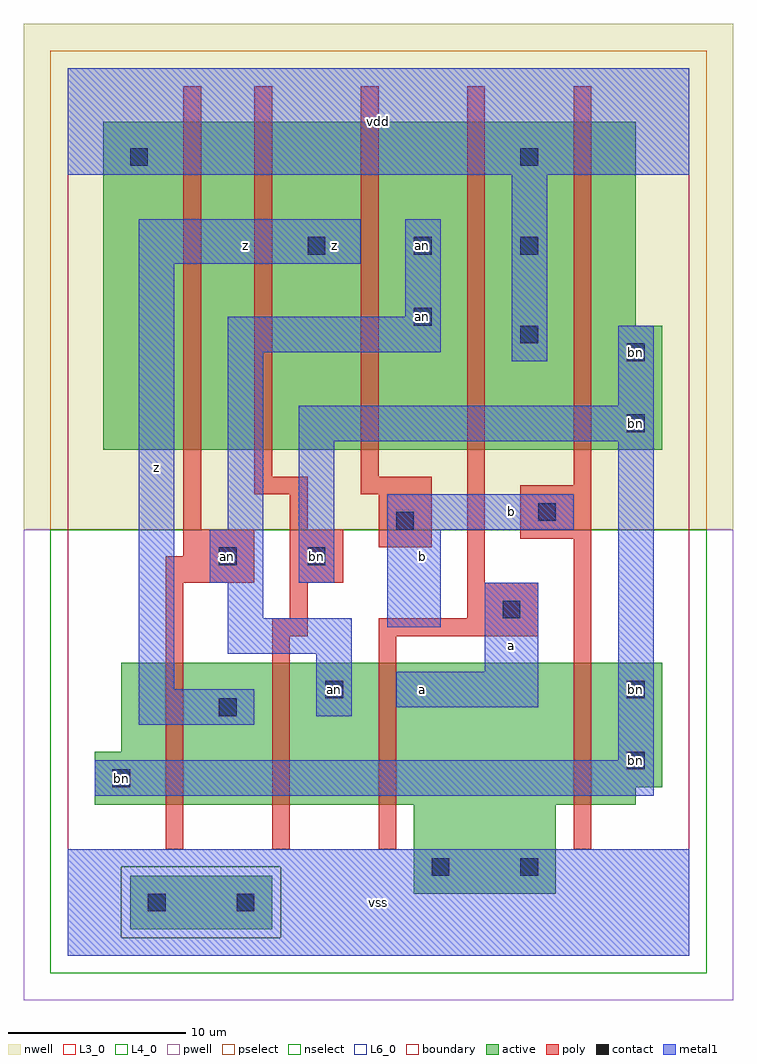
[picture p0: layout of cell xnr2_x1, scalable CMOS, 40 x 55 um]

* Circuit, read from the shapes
.subckt xnr2_x1 a an b bn vdd vss z
M1 z an bn vss nfet w=8u l=1u
M2 an bn z vss nfet w=8u l=1u
M3 vss a an vss nfet w=8u l=1u
M4 bn b vss vss nfet w=8u l=1u
M5 n1 an vdd n2 pfet w=18.5u l=1u
M6 z bn n1 n2 pfet w=18.5u l=1u
M7 an b z n2 pfet w=18.5u l=1u
M8 vdd a an n2 pfet w=18.5u l=1u
M9 bn b vdd n2 pfet w=18.5u l=1u
.ends

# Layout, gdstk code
import gdstk
lib = gdstk.Library(unit=1e-6, precision=1e-09)
def R(c, l, rs):  # rectangles x0, y0, x1, y1
    for r in rs: c.add(gdstk.rectangle(r[:2], r[2:], *l))
def A(c, l, x, y, w, h, nx, ny, dx, dy):  # array of equal rectangles
    R(c, l, [(x+i*dx, y+j*dy, x+i*dx+w, y+j*dy+h) for i in range(nx) for j in range(ny)])
L3_0 = (3, 0)
L4_0 = (4, 0)
L6_0 = (6, 0)
contact = (25, 0)
pwell = (41, 0)
nwell = (42, 0)
active = (43, 0)
pselect = (44, 0)
nselect = (45, 0)
poly = (46, 0)
metal1 = (49, 0)
boundary = (63, 0)

xnr2_x1 = lib.new_cell('xnr2_x1')
R(xnr2_x1, L3_0, [(19.5,3.5,27.5,8.5), (1.5,8.5,32,9.5), (1.5,9.5,33.5,11.5), (3,11.5,33.5,16.5)])
R(xnr2_x1, L4_0, [(2,28.5,33.5,35.5), (2,35.5,32,47)])
R(xnr2_x1, L6_0, [(3.5,1.5,11.5,4.5)])
A(xnr2_x1, contact, 13.5, 39.5, 1, 1, 3, 1, 6, 0)
R(xnr2_x1, contact, [(4.5,2.5,5.5,3.5), (9.5,2.5,10.5,3.5), (20.5,4.5,21.5,5.5), (25.5,4.5,26.5,5.5), (2.5,9.5,3.5,10.5), (31.5,10.5,32.5,11.5), (8.5,13.5,9.5,14.5), (14.5,14.5,15.5,15.5), (31.5,14.5,32.5,15.5), (24.5,19,25.5,20), (8.5,22,9.5,23), (13.5,22,14.5,23), (18.5,24,19.5,25), (26.5,24.5,27.5,25.5), (31.5,29.5,32.5,30.5), (31.5,33.5,32.5,34.5), (25.5,34.5,26.5,35.5), (19.5,35.5,20.5,36.5), (3.5,44.5,4.5,45.5), (25.5,44.5,26.5,45.5)])
R(xnr2_x1, pwell, [(-2.5,-2.5,37.5,24)])
R(xnr2_x1, nwell, [(-2.5,24,37.5,52.5)])
R(xnr2_x1, active, [(3.5,1.5,11.5,4.5), (19.5,3.5,27.5,8.5), (1.5,8.5,32,9.5), (1.5,9.5,33.5,11.5), (3,11.5,33.5,16.5), (2,28.5,33.5,35.5), (2,35.5,32,47)])
R(xnr2_x1, pselect, [(3,1,12,5), (-1,24,36,51)])
R(xnr2_x1, nselect, [(-1,-1,36,1), (-1,1,3,5), (12,1,36,5), (-1,5,36,24)])
R(xnr2_x1, poly, [(5.5,6,6.5,21), (11.5,6,12.5,18), (17.5,6,18.5,18), (28.5,6,29.5,23.5), (11.5,18,13.5,19), (17.5,18,26.5,19), (12.5,19,13.5,21), (22.5,19,26.5,21), (5.5,21,10.5,22.5), (12.5,21,15.5,24), (22.5,21,23.5,49), (6.5,22.5,10.5,24), (17.5,23,20.5,26), (25.5,23.5,29.5,26.5), (6.5,24,7.5,49), (12.5,24,13.5,26), (10.5,26,13.5,27), (16.5,26,20.5,27), (28.5,26.5,29.5,49), (10.5,27,11.5,49), (16.5,27,17.5,49)])
R(xnr2_x1, metal1, [(0,0,35,6), (0,0,35,6), (1.5,9,33,11), (1.5,9,33,11), (31,11,33,29), (31,11,33,29), (4,13,10.5,15), (4,13,10.5,15), (14,13.5,16,17), (14,13.5,16,17), (18.5,14,26.5,16), (18.5,14,26.5,16), (4,15,6,39), (4,15,6,39), (23.5,16,26.5,21), (23.5,16,26.5,21), (9,17,16,19), (9,17,16,19), (18,18.5,21,24), (18,18.5,21,24), (9,19,11,21), (9,19,11,21), (8,21,11,24), (8,21,11,24), (13,21,15,29), (13,21,15,29), (9,24,11,34), (9,24,11,34), (18,24,28.5,26), (18,24,28.5,26), (13,29,33,31), (13,29,33,31), (31,31,33,35.5), (31,31,33,35.5), (25,33.5,27,44), (25,33.5,27,44), (9,34,21,36), (9,34,21,36), (19,36,21,41.5), (19,36,21,41.5), (4,39,16.5,41.5), (4,39,16.5,41.5), (0,44,35,50), (0,44,35,50)])
R(xnr2_x1, boundary, [(0,0,35,50)])
xnr2_x1.add(gdstk.Label('bn', (3,10), layer=49, texttype=0))
xnr2_x1.add(gdstk.Label('an', (9,22.5), layer=49, texttype=0))
xnr2_x1.add(gdstk.Label('bn', (14,22.5), layer=49, texttype=0))
xnr2_x1.add(gdstk.Label('an', (15,15), layer=49, texttype=0))
xnr2_x1.add(gdstk.Label('an', (20,36), layer=49, texttype=0))
xnr2_x1.add(gdstk.Label('an', (20,40), layer=49, texttype=0))
xnr2_x1.add(gdstk.Label('bn', (32,11), layer=49, texttype=0))
xnr2_x1.add(gdstk.Label('bn', (32,15), layer=49, texttype=0))
xnr2_x1.add(gdstk.Label('bn', (32,34), layer=49, texttype=0))
xnr2_x1.add(gdstk.Label('bn', (32,30), layer=49, texttype=0))
xnr2_x1.add(gdstk.Label('z', (5,27.5), layer=49, texttype=0))
xnr2_x1.add(gdstk.Label('z', (10,40), layer=49, texttype=0))
xnr2_x1.add(gdstk.Label('z', (15,40), layer=49, texttype=0))
xnr2_x1.add(gdstk.Label('vss', (17.5,3), layer=49, texttype=0))
xnr2_x1.add(gdstk.Label('b', (20,22.5), layer=49, texttype=0))
xnr2_x1.add(gdstk.Label('a', (20,15), layer=49, texttype=0))
xnr2_x1.add(gdstk.Label('a', (25,17.5), layer=49, texttype=0))
xnr2_x1.add(gdstk.Label('b', (25,25), layer=49, texttype=0))
xnr2_x1.add(gdstk.Label('vdd', (17.5,47), layer=49, texttype=0))

lib.write_gds('xnr2_x1.gds')
